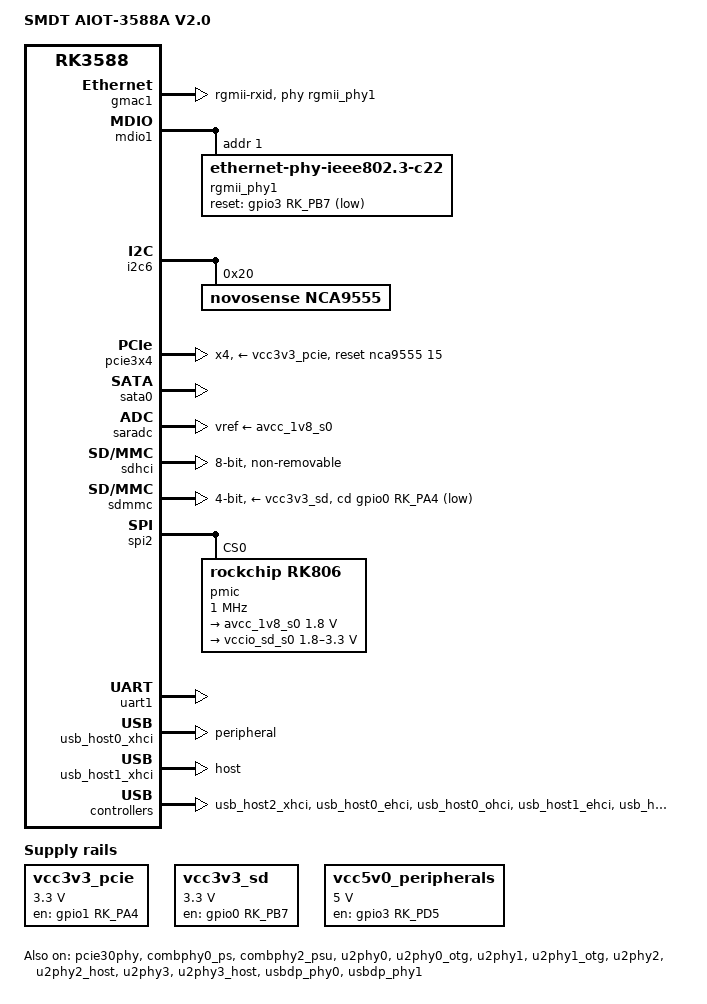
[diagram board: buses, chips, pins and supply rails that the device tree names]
// SPDX-License-Identifier: (GPL-2.0+ OR MIT)
/dts-v1/;

#include <dt-bindings/gpio/gpio.h>
#include <dt-bindings/pinctrl/rockchip.h>
#include "rk3588.dtsi"

/ {
	model = "SMDT AIOT-3588A V2.0";
	compatible = "smdt,aiot-3588a2", "rockchip,rk3588";

	aliases {
		ethernet0 = &gmac1;
		mmc0 = &sdhci;
		mmc1 = &sdmmc;
	};

	chosen {
		stdout-path = "serial1:1500000n8";
	};

	vcc3v3_pcie: regulator-vcc3v3-pcie {
		compatible = "regulator-fixed";
		regulator-name = "vcc3v3_pcie30";
		regulator-min-microvolt = <3300000>;
		regulator-max-microvolt = <3300000>;
		gpio = <&gpio1 RK_PA4 GPIO_ACTIVE_HIGH>;
		enable-active-high;
		startup-delay-us = <5000>;
	};

	vcc3v3_sd: regulator-vcc3v3-sd {
		compatible = "regulator-fixed";
		regulator-name = "vcc_3v3_sd_s0";
		regulator-min-microvolt = <3300000>;
		regulator-max-microvolt = <3300000>;
		gpio = <&gpio0 RK_PB7 GPIO_ACTIVE_HIGH>;
		enable-active-high;
	};

	vcc5v0_peripherals: regulator-vcc5v0-peripherals {
		compatible = "regulator-fixed";
		regulator-name = "vcc5v0_peripherals";
		regulator-min-microvolt = <5000000>;
		regulator-max-microvolt = <5000000>;
		gpio = <&gpio3 RK_PD5 GPIO_ACTIVE_HIGH>;
		enable-active-high;
		regulator-always-on;
		regulator-boot-on;
	};
};

&gmac1 {
	clock_in_out = "output";
	phy-handle = <&rgmii_phy1>;
	phy-mode = "rgmii-rxid";
	pinctrl-names = "default";
	pinctrl-0 = <&gmac1_miim &gmac1_tx_bus2 &gmac1_rx_bus2
		     &gmac1_rgmii_clk &gmac1_rgmii_bus>;
	tx_delay = <0x43>;
	status = "okay";
};

&mdio1 {
	rgmii_phy1: ethernet-phy@1 {
		compatible = "ethernet-phy-ieee802.3-c22";
		reg = <1>;
		reset-gpios = <&gpio3 RK_PB7 GPIO_ACTIVE_LOW>;
		reset-assert-us = <20000>;
		reset-deassert-us = <100000>;
	};
};

&i2c6 {
	pinctrl-names = "default";
	pinctrl-0 = <&i2c6m0_xfer>;
	status = "okay";

	nca9555: gpio@20 {
		compatible = "novosense,nca9555", "nxp,pca9555";
		reg = <0x20>;
		gpio-controller;
		#gpio-cells = <2>;
	};
};

&pcie30phy {
	status = "okay";
};

&pcie3x4 {
	num-lanes = <4>;
	reset-gpios = <&nca9555 15 GPIO_ACTIVE_HIGH>;
	vpcie3v3-supply = <&vcc3v3_pcie>;
	status = "okay";
};

&combphy0_ps {
	assigned-clocks = <&cru CLK_REF_PIPE_PHY0>;
	assigned-clock-rates = <100000000>;
	status = "okay";
};

&combphy2_psu {
	status = "okay";
};

&sata0 {
	status = "okay";
};

&saradc {
	vref-supply = <&avcc_1v8_s0>;
	status = "okay";
};

&sdhci {
	/delete-property/ supports-cqe;
	bus-width = <8>;
	mmc-hs400-1_8v;
	mmc-hs400-enhanced-strobe;
	no-sd;
	no-sdio;
	non-removable;
	status = "okay";
};

&sdmmc {
	bus-width = <4>;
	cap-sd-highspeed;
	cd-gpios = <&gpio0 RK_PA4 GPIO_ACTIVE_LOW>;
	disable-wp;
	no-mmc;
	no-sdio;
	pinctrl-names = "default";
	pinctrl-0 = <&sdmmc_bus4 &sdmmc_clk &sdmmc_cmd>;
	sd-uhs-sdr104;
	vmmc-supply = <&vcc3v3_sd>;
	vqmmc-supply = <&vccio_sd_s0>;
	status = "okay";
};

&spi2 {
	pinctrl-names = "default";
	pinctrl-0 = <&spi2m2_cs0 &spi2m2_pins>;
	status = "okay";

	pmic@0 {
		compatible = "rockchip,rk806";
		reg = <0>;
		spi-max-frequency = <1000000>;

		regulators {
			avcc_1v8_s0: pldo-reg1 {
				regulator-name = "avcc_1v8_s0";
				regulator-min-microvolt = <1800000>;
				regulator-max-microvolt = <1800000>;
				regulator-always-on;
			};

			vccio_sd_s0: pldo-reg5 {
				regulator-name = "vccio_sd_s0";
				regulator-min-microvolt = <1800000>;
				regulator-max-microvolt = <3300000>;
			};
		};
	};
};

&uart1 {
	pinctrl-names = "default";
	pinctrl-0 = <&uart1m1_xfer>;
	status = "okay";
};

&u2phy0 { status = "okay"; };
&u2phy0_otg { status = "okay"; };
&u2phy1 { status = "okay"; };
&u2phy1_otg { status = "okay"; };
&u2phy2 { status = "okay"; };
&u2phy2_host { status = "okay"; };
&u2phy3 { status = "okay"; };
&u2phy3_host { status = "okay"; };
&usbdp_phy0 { status = "okay"; };
&usbdp_phy1 { status = "okay"; };

&usb_host0_xhci {
	dr_mode = "peripheral";
	status = "okay";
};

&usb_host1_xhci {
	dr_mode = "host";
	status = "okay";
};

&usb_host2_xhci { status = "okay"; };
&usb_host0_ehci { status = "okay"; };
&usb_host0_ohci { status = "okay"; };
&usb_host1_ehci { status = "okay"; };
&usb_host1_ohci { status = "okay"; };
